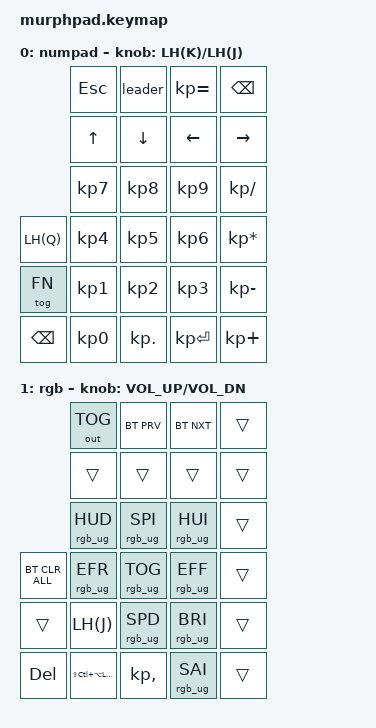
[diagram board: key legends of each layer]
/*
 * Copyright (c) 2021 Kyle McCreery
 *
 * SPDX-License-Identifier: MIT
 */
#define ZMK_BASE_LAYER(name, LT, RT, LM, RM, LB, RB, LH, RH)                   \
    ZMK_LAYER(                                                                 \
        name,                                                                  \
                             LT &none &none RT                                 \
                             LM &none &none RM                                 \
                             LB &none &none RB                                 \
        &none &none &kp LGUI LH &none &none RH &smart_mouse U_WH_D U_WH_U      \
    )


#include "base.keymap"
#include <behaviors.dtsi>
#include <dt-bindings/zmk/keys.h>
#include <dt-bindings/zmk/bt.h>
#include <dt-bindings/zmk/outputs.h>
#include <dt-bindings/zmk/rgb.h>

ZMK_LEADER_SEQUENCE(pw1,      &pw1,         KP_N1 KP_N2)  // ä

#define TIMEOUT 300

#define LEFT_HYPER LS(LC(LA(LGUI)))
#define LH(key) LS(LC(LA(LG(key))))

&encoder_1 {
    status = "okay";
};

/* Combo Definitions*/
/ {
    combos {
        compatible = "zmk,combos";
        combo_btclr {
            timeout-ms = <TIMEOUT>;
            key-positions = <1 6>;
            bindings = <&bt BT_CLR>;
        };
        combo_reset {
            timeout-ms = <TIMEOUT>;
            key-positions = <1 3>;
            bindings = <&sys_reset>;
        };
        combo_bootloader {
            timeout-ms = <TIMEOUT>;
            key-positions = <0 3>;
            bindings = <&bootloader>;
        };
        combo_bt_nxt {
            timeout-ms = <TIMEOUT>;
            key-positions = <1 4>;
            bindings = <&bt BT_NXT>;
        };
    };

    sensors {
        compatible = "zmk,keymap-sensors";
        sensors = <&encoder_1>;
    };


    keymap0: keymap {
        compatible = "zmk,keymap";

        default_layer {
        label = "numpad";
            bindings = <
                            &kp ESC      &leader          &kp KP_EQUAL      &kp BSPC
                            &kp UP       &kp DOWN        &kp LEFT          &kp RIGHT
                            &kp KP_N7    &kp KP_N8       &kp KP_N9         &kp KP_DIVIDE
                &kp LH(Q)   &kp KP_N4    &kp KP_N5       &kp KP_N6         &kp KP_MULTIPLY
                &tog FN     &kp KP_N1    &kp KP_N2       &kp KP_N3         &kp KP_MINUS
                &kp BSPC    &kp KP_N0    &kp KP_DOT      &kp KP_ENTER      &kp KP_PLUS
            >;
            sensor-bindings = <&inc_dec_kp LH(K) LH(J)>;

        };

        fn_layer {
        label = "rgb";
            bindings = <
                                &out OUT_TOG     &bt BT_PRV       &bt BT_NXT       &trans
                                &trans           &trans           &trans           &trans
                                &rgb_ug RGB_HUD  &rgb_ug RGB_SPI  &rgb_ug RGB_HUI  &trans
                &bt BT_CLR_ALL  &rgb_ug RGB_EFR  &rgb_ug RGB_TOG  &rgb_ug RGB_EFF  &trans
                &trans          &kp LH(J)  &rgb_ug RGB_SPD  &rgb_ug RGB_BRI  &trans
                &kp DEL         &kp LEFT_HYPER  &kp KP_COMMA     &rgb_ug RGB_SAI  &trans
            >;
            sensor-bindings = <&inc_dec_kp C_VOL_UP C_VOL_DN>;

        };
    };
};
